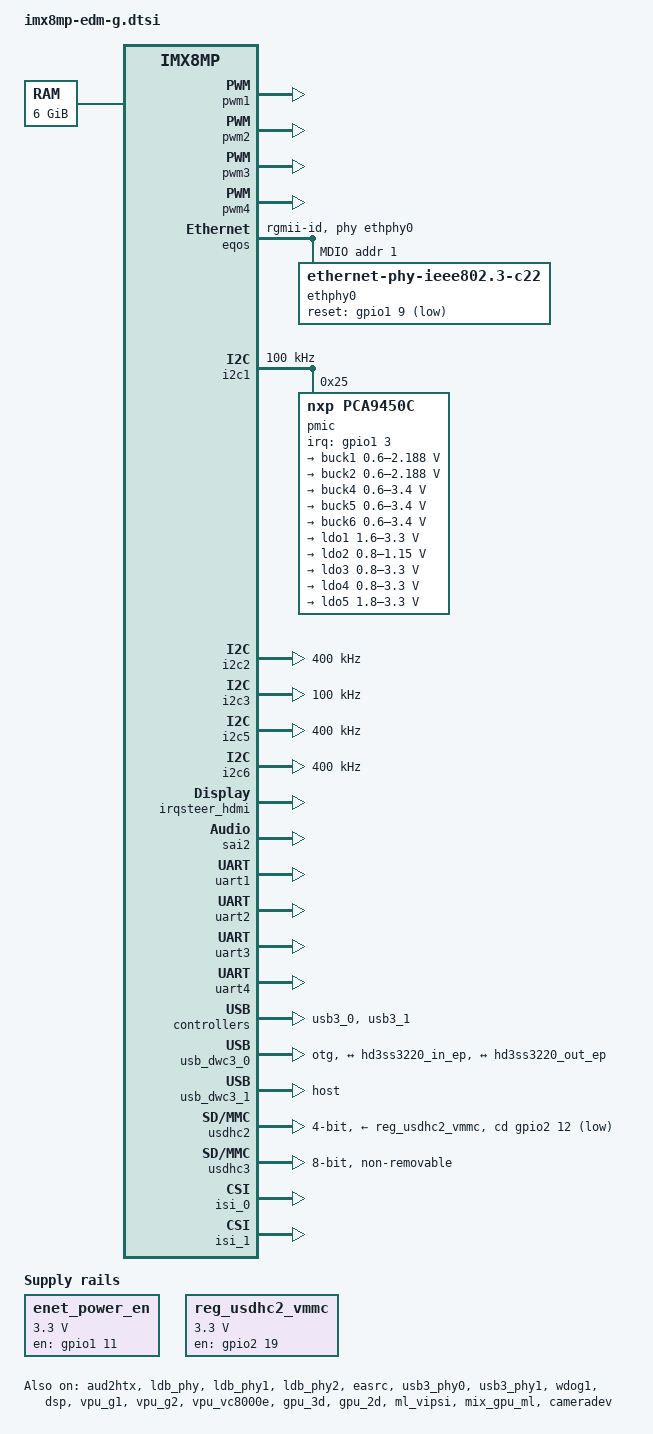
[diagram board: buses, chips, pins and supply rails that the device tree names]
// SPDX-License-Identifier: (GPL-2.0+ OR MIT)
/*
 * Copyright 2020 Technexion Ltd.
 *
 * Author: Ray Chang <ray.chang@technexion.com>
 *
 */

/dts-v1/;

#include <dt-bindings/usb/pd.h>
#include "imx8mp.dtsi"

/ {
	memory@40000000 {
		device_type = "memory";
		reg = <0x0 0x40000000 0 0xc0000000>,
		      <0x1 0x00000000 0 0xc0000000>;
	};

	chosen {		
		bootargs = "console=ttymxc1,115200 earlycon=ec_imx6q,0x30890000,115200 video=LCDIF2-1:1920x1080@60";
		stdout-path = &uart2;
	};

	enet_power_en: enet_power_en {
		pinctrl-names = "default";
		pinctrl-0 = <&pinctrl_enet_pwr>;
		compatible = "regulator-fixed";
		regulator-name = "enet_pwr";
		regulator-min-microvolt = <3300000>;
		regulator-max-microvolt = <3300000>;
		gpio = <&gpio1 11 GPIO_ACTIVE_HIGH>;
		enable-active-high;
		regulator-always-on;
	};

	reg_usdhc2_vmmc: regulator-usdhc2 {
		compatible = "regulator-fixed";
		regulator-name = "VSD_3V3";
		regulator-min-microvolt = <3300000>;
		regulator-max-microvolt = <3300000>;
		gpio = <&gpio2 19 GPIO_ACTIVE_HIGH>;
		enable-active-high;
		startup-delay-us = <100>;
		off-on-delay-us = <12000>;
	};
};

&aud2htx {
	status = "okay";
};

&A53_0 {
	cpu-supply = <&buck2>;
};

&A53_1 {
	cpu-supply = <&buck2>;
};

&A53_2 {
	cpu-supply = <&buck2>;
};

&A53_3 {
	cpu-supply = <&buck2>;
};

&pwm1 {
	pinctrl-names = "default";
	pinctrl-0 = <&pinctrl_pwm1>;
	status = "okay";
};

&pwm2 {
	pinctrl-names = "default";
	pinctrl-0 = <&pinctrl_pwm2>;
	status = "okay";
};

&pwm3 {
	pinctrl-names = "default";
	pinctrl-0 = <&pinctrl_pwm3>;
	status = "okay";
};

&pwm4 {
	pinctrl-names = "default";
	pinctrl-0 = <&pinctrl_pwm4>;
	status = "okay";
};

&ecspi1 {
	#address-cells = <1>;
	#size-cells = <0>;

	pinctrl-names = "default";	
	pinctrl-0 = <&pinctrl_ecspi1 &pinctrl_ecspi1_cs>;
	
	num-cs = <4>;	
	cs-gpios = <
		&gpio5 9 GPIO_ACTIVE_LOW   // CS0
		&gpio1 10 GPIO_ACTIVE_LOW  // CS1
		&gpio4 30 GPIO_ACTIVE_LOW  // CS2
		&gpio4 31 GPIO_ACTIVE_LOW  // CS3
	>;

	status = "disabled";

	spidev1: spi@0 {
		reg = <0>;
		compatible = "rohm,dh2228fv";
		spi-max-frequency = <500000>;
	};

	spidev1: spi@1 {
		reg = <1>;
		compatible = "rohm,dh2228fv";
		spi-max-frequency = <500000>;
	};

	spidev2: spi@2 {
		reg = <2>;
		compatible = "rohm,dh2228fv";
		spi-max-frequency = <500000>;
	};

	spidev3: spi@3 {
		reg = <3>;
		compatible = "rohm,dh2228fv";
		spi-max-frequency = <500000>;
	};
};

&ecspi2 {
	#address-cells = <1>;
	#size-cells = <0>;

	pinctrl-names = "default";	
	pinctrl-0 = <&pinctrl_ecspi2 &pinctrl_ecspi2_cs>;
	
	num-cs = <4>;	
	cs-gpios = <
		&gpio5 13 GPIO_ACTIVE_LOW    // ECSPI2_SS0 (기본)
		&gpio3 23 GPIO_ACTIVE_LOW    // SAI5_RXD2
		&gpio3 24 GPIO_ACTIVE_LOW    // SAI5_RXD3
		&gpio3 25 GPIO_ACTIVE_LOW    // SAI5_MCLK
	>;

	status = "disabled";
	
	spidev1: spi@0 {
		reg = <0>;
		compatible = "rohm,dh2228fv";
		spi-max-frequency = <500000>;
	};

	spidev1: spi@1 {
		reg = <1>;
		compatible = "rohm,dh2228fv";
		spi-max-frequency = <500000>;
	};

	spidev2: spi@2 {
		reg = <2>;
		compatible = "rohm,dh2228fv";
		spi-max-frequency = <500000>;
	};

	spidev3: spi@3 {
		reg = <3>;
		compatible = "rohm,dh2228fv";
		spi-max-frequency = <500000>;
	}; 
};


&eqos {
	pinctrl-names = "default";
	pinctrl-0 = <&pinctrl_eqos>;
	phy-mode = "rgmii-id";
	phy-handle = <&ethphy0>;
	status = "okay";

	mdio {
		compatible = "snps,dwmac-mdio";
		#address-cells = <1>;
		#size-cells = <0>;

		ethphy0: ethernet-phy@1 {
			/* Atheros AR8035 PHY */
			compatible = "ethernet-phy-ieee802.3-c22";
			reg = <1>;
			reset-gpios = <&gpio1 9 GPIO_ACTIVE_LOW>;
			reset-assert-us = <35000>;
			reset-deassert-us = <75000>;
			eee-broken-1000t;
			at803x,eee-disabled;
			at803x,vddio-1p8v;
			realtek,aldps-disable;
			realtek,clkout-disable;
		};
	};
};

&i2c1 {
	clock-frequency = <100000>;
	pinctrl-names = "default";
	pinctrl-0 = <&pinctrl_i2c1>;
	status = "okay";

	pmic: pca9450@25 {
		reg = <0x25>;
		compatible = "nxp,pca9450c";
		/* PMIC PCA9450 PMIC_nINT GPIO1_IO3 */
		pinctrl-0 = <&pinctrl_pmic>;
		interrupt-parent = <&gpio1>;
		interrupts = <3 GPIO_ACTIVE_LOW>;

		regulators {
			buck1: BUCK1 {
				regulator-name = "BUCK1";
				regulator-min-microvolt = <600000>;
				regulator-max-microvolt = <2187500>;
				regulator-boot-on;
				regulator-always-on;
				regulator-ramp-delay = <3125>;
			};

			buck2: BUCK2 {
				regulator-name = "BUCK2";
				regulator-min-microvolt = <600000>;
				regulator-max-microvolt = <2187500>;
				regulator-boot-on;
				regulator-always-on;
				regulator-ramp-delay = <3125>;
				nxp,dvs-run-voltage = <950000>;
				nxp,dvs-standby-voltage = <850000>;
			};

			buck4: BUCK4{
				regulator-name = "BUCK4";
				regulator-min-microvolt = <600000>;
				regulator-max-microvolt = <3400000>;
				regulator-boot-on;
				regulator-always-on;
			};

			buck5: BUCK5{
				regulator-name = "BUCK5";
				regulator-min-microvolt = <600000>;
				regulator-max-microvolt = <3400000>;
				regulator-boot-on;
				regulator-always-on;
			};

			buck6: BUCK6 {
				regulator-name = "BUCK6";
				regulator-min-microvolt = <600000>;
				regulator-max-microvolt = <3400000>;
				regulator-boot-on;
				regulator-always-on;
			};

			ldo1: LDO1 {
				regulator-name = "LDO1";
				regulator-min-microvolt = <1600000>;
				regulator-max-microvolt = <3300000>;
				regulator-boot-on;
				regulator-always-on;
			};

			ldo2: LDO2 {
				regulator-name = "LDO2";
				regulator-min-microvolt = <800000>;
				regulator-max-microvolt = <1150000>;
				regulator-boot-on;
				regulator-always-on;
			};

			ldo3: LDO3 {
				regulator-name = "LDO3";
				regulator-min-microvolt = <800000>;
				regulator-max-microvolt = <3300000>;
				regulator-boot-on;
				regulator-always-on;
			};

			ldo4: LDO4 {
				regulator-name = "LDO4";
				regulator-min-microvolt = <800000>;
				regulator-max-microvolt = <3300000>;
				regulator-boot-on;
				regulator-always-on;
			};

			ldo5: LDO5 {
				regulator-name = "LDO5";
				regulator-min-microvolt = <1800000>;
				regulator-max-microvolt = <3300000>;
				regulator-boot-on;
				regulator-always-on;
			};
		};
	};
};

&i2c2 {
	clock-frequency = <400000>;
	pinctrl-names = "default";
	pinctrl-0 = <&pinctrl_i2c2>;
	status = "okay";
};

&i2c3 {
	clock-frequency = <100000>;
	pinctrl-names = "default";
	pinctrl-0 = <&pinctrl_i2c3>;
	status = "okay";
};

&i2c4 {
	clock-frequency = <100000>;
	pinctrl-names = "default";
	pinctrl-0 = <&pinctrl_i2c4>;
	status = "disabled";
};

&i2c5 {
	clock-frequency = <400000>;
	pinctrl-names = "default";
	pinctrl-0 = <&pinctrl_i2c5>;
	status = "okay";
};

&i2c6 {
	clock-frequency = <400000>;
	pinctrl-names = "default";
	pinctrl-0 = <&pinctrl_i2c6>;
	status = "okay";
};

&irqsteer_hdmi {
	status = "okay";
};

&flexcan1 {
	pinctrl-names = "default";
	pinctrl-0 = <&pinctrl_flexcan1>;
	status = "disabled";
};

&flexcan2 {
	pinctrl-names = "default";
	pinctrl-0 = <&pinctrl_flexcan2>;
	status = "disabled";
};

&ldb_phy {
	status = "okay";
};

&ldb_phy1 {
	status = "okay";
};

&ldb_phy2 {
	status = "okay";
};

&easrc {
	fsl,asrc-rate  = <48000>;
	status = "okay";
};

&sai2 {
	pinctrl-names = "default";
	pinctrl-0 = <&pinctrl_sai2>;
	assigned-clocks = <&clk IMX8MP_CLK_SAI2>;
	assigned-clock-parents = <&clk IMX8MP_AUDIO_PLL1_OUT>;
	assigned-clock-rates = <12288000>;
	clocks = <&audio_blk_ctrl IMX8MP_CLK_AUDIOMIX_SAI2_IPG>, <&clk IMX8MP_CLK_DUMMY>,
		 <&audio_blk_ctrl IMX8MP_CLK_AUDIOMIX_SAI2_MCLK1>, <&clk IMX8MP_CLK_DUMMY>,
		 <&clk IMX8MP_CLK_DUMMY>;
	clock-names = "bus", "mclk0", "mclk1", "mclk2", "mclk3";
	fsl,sai-mclk-direction-output;
	status = "okay";
};

&sdma2 {
	status = "okay";
};

/* BT */
&uart1 {
	pinctrl-names = "default";
	pinctrl-0 = <&pinctrl_uart1>;
	status = "okay";
};

/* UART_A on EDMG, console */
&uart2 {
	pinctrl-names = "default";
	pinctrl-0 = <&pinctrl_uart2>;
	status = "okay";
};

/* UART_C on EDMG */
&uart3 {
	pinctrl-names = "default";
	pinctrl-0 = <&pinctrl_uart3>;
	assigned-clocks = <&clk IMX8MP_CLK_UART3>;
	assigned-clock-parents = <&clk IMX8MP_SYS_PLL1_80M>;
	fsl,uart-has-rtscts;
	status = "okay";
};

/* UART_B on EDMG */
&uart4 {
	pinctrl-names = "default";
	pinctrl-0 = <&pinctrl_uart4>;
	assigned-clocks = <&clk IMX8MP_CLK_UART4>;
	assigned-clock-parents = <&clk IMX8MP_SYS_PLL1_80M>;
	fsl,uart-has-rtscts;
	status = "okay";
};

&usb3_phy0 {
	fsl,phy-tx-vref-tune = <0xe>;
	fsl,phy-tx-preemp-amp-tune = <3>;
	fsl,phy-tx-vboost-level = <5>;
	fsl,phy-comp-dis-tune = <7>;
	fsl,pcs-tx-deemph-3p5db = <0x21>;
	fsl,phy-pcs-tx-swing-full = <0x7f>;
	status = "okay";
};

&usb3_0 {
	status = "okay";
};


&usb_dwc3_0 {
	dr_mode = "otg";
	pinctrl-names = "default";
	hnp-disable;
	srp-disable;
	adp-disable;
	usb-role-switch;
	status = "okay";

	ports {
		#address-cells = <1>;
		#size-cells = <0>;

		port@0 {
			reg = <0>;
			dwc3_out_ep: endpoint {
				remote-endpoint = <&hd3ss3220_in_ep>;
			};
		};

		port@1 {
			reg = <1>;
			dwc3_in_ep: endpoint {
				remote-endpoint = <&hd3ss3220_out_ep>;
			};
		};
	};
};


&usb3_phy1 {
	fsl,phy-tx-preemp-amp-tune = <3>;
	fsl,phy-tx-vref-tune = <0xb>;
	status = "okay";
};

&usb3_1 {
	status = "okay";
};

&usb_dwc3_1 {
	dr_mode = "host";
	status = "okay";
	resets = <&usb_hub_rst>;	
};

/* SD card on baseboard */
&usdhc2 {
	assigned-clocks = <&clk IMX8MP_CLK_USDHC2>;
	assigned-clock-rates = <400000000>;
	pinctrl-names = "default", "state_100mhz", "state_200mhz";
	pinctrl-0 = <&pinctrl_usdhc2>, <&pinctrl_usdhc2_gpio>;
	pinctrl-1 = <&pinctrl_usdhc2_100mhz>, <&pinctrl_usdhc2_gpio>;
	pinctrl-2 = <&pinctrl_usdhc2_200mhz>, <&pinctrl_usdhc2_gpio>;
	cd-gpios = <&gpio2 12 GPIO_ACTIVE_LOW>;
	vmmc-supply = <&reg_usdhc2_vmmc>;
	bus-width = <4>;
	status = "okay";
};

/* eMMC on SOM */
&usdhc3 {
	assigned-clocks = <&clk IMX8MP_CLK_USDHC3>;
	assigned-clock-rates = <400000000>;
	pinctrl-names = "default", "state_100mhz", "state_200mhz";
	pinctrl-0 = <&pinctrl_usdhc3>;
	pinctrl-1 = <&pinctrl_usdhc3_100mhz>;
	pinctrl-2 = <&pinctrl_usdhc3_200mhz>;
	bus-width = <8>;
	non-removable;
	status = "okay";
};

&wdog1 {
	pinctrl-names = "default";
	pinctrl-0 = <&pinctrl_wdog>;
	fsl,ext-reset-output;
	status = "okay";
};

&iomuxc {
	pinctrl-names = "default";

	pinctrl_wdog: wdoggrp {
		fsl,pins = <
			MX8MP_IOMUXC_GPIO1_IO02__WDOG1_WDOG_B	0xc6
		>;
	};

	//edm module - pca9450
	pinctrl_pmic: pmicirq {
		fsl,pins = <
			MX8MP_IOMUXC_GPIO1_IO03__GPIO1_IO03	0x41
		>;
	};


	pinctrl_usdhc1: usdhc1grp {
		fsl,pins = <
			MX8MP_IOMUXC_SD1_CLK__USDHC1_CLK	0x190
			MX8MP_IOMUXC_SD1_CMD__USDHC1_CMD	0x1d0
			MX8MP_IOMUXC_SD1_DATA0__USDHC1_DATA0	0x1d0
			MX8MP_IOMUXC_SD1_DATA1__USDHC1_DATA1	0x1d0
			MX8MP_IOMUXC_SD1_DATA2__USDHC1_DATA2	0x1d0
			MX8MP_IOMUXC_SD1_DATA3__USDHC1_DATA3	0x1d0
		>;
	};

	pinctrl_usdhc1_100mhz: usdhc1grp-100mhz {
		fsl,pins = <
			MX8MP_IOMUXC_SD1_CLK__USDHC1_CLK	0x194
			MX8MP_IOMUXC_SD1_CMD__USDHC1_CMD	0x1d4
			MX8MP_IOMUXC_SD1_DATA0__USDHC1_DATA0	0x1d4
			MX8MP_IOMUXC_SD1_DATA1__USDHC1_DATA1	0x1d4
			MX8MP_IOMUXC_SD1_DATA2__USDHC1_DATA2	0x1d4
			MX8MP_IOMUXC_SD1_DATA3__USDHC1_DATA3	0x1d4
		>;
	};

	pinctrl_usdhc1_200mhz: usdhc1grp-200mhz {
		fsl,pins = <
			MX8MP_IOMUXC_SD1_CLK__USDHC1_CLK	0x196
			MX8MP_IOMUXC_SD1_CMD__USDHC1_CMD	0x1d6
			MX8MP_IOMUXC_SD1_DATA0__USDHC1_DATA0	0x1d6
			MX8MP_IOMUXC_SD1_DATA1__USDHC1_DATA1	0x1d6
			MX8MP_IOMUXC_SD1_DATA2__USDHC1_DATA2	0x1d6
			MX8MP_IOMUXC_SD1_DATA3__USDHC1_DATA3	0x1d6
		>;
	};

	pinctrl_usdhc2_gpio: usdhc2grp-gpio {
		fsl,pins = <
			MX8MP_IOMUXC_SD2_CD_B__GPIO2_IO12 	0x1c4
			MX8MP_IOMUXC_SD2_RESET_B__GPIO2_IO19	0x41  //VSD_3V3
		>;
	};

	pinctrl_usdhc2: usdhc2grp {
		fsl,pins = <
			MX8MP_IOMUXC_SD2_CLK__USDHC2_CLK	0x190
			MX8MP_IOMUXC_SD2_CMD__USDHC2_CMD	0x1d0
			MX8MP_IOMUXC_SD2_DATA0__USDHC2_DATA0	0x1d0
			MX8MP_IOMUXC_SD2_DATA1__USDHC2_DATA1	0x1d0
			MX8MP_IOMUXC_SD2_DATA2__USDHC2_DATA2	0x1d0
			MX8MP_IOMUXC_SD2_DATA3__USDHC2_DATA3	0x1d0
			MX8MP_IOMUXC_GPIO1_IO04__USDHC2_VSELECT	0xc1  
		>;
	};

	pinctrl_usdhc2_100mhz: usdhc2grp-100mhz {
		fsl,pins = <
			MX8MP_IOMUXC_SD2_CLK__USDHC2_CLK	0x194
			MX8MP_IOMUXC_SD2_CMD__USDHC2_CMD	0x1d4
			MX8MP_IOMUXC_SD2_DATA0__USDHC2_DATA0	0x1d4
			MX8MP_IOMUXC_SD2_DATA1__USDHC2_DATA1	0x1d4
			MX8MP_IOMUXC_SD2_DATA2__USDHC2_DATA2	0x1d4
			MX8MP_IOMUXC_SD2_DATA3__USDHC2_DATA3	0x1d4
			MX8MP_IOMUXC_GPIO1_IO04__USDHC2_VSELECT 0xc1
		>;
	};

	pinctrl_usdhc2_200mhz: usdhc2grp-200mhz {
		fsl,pins = <
			MX8MP_IOMUXC_SD2_CLK__USDHC2_CLK	0x196
			MX8MP_IOMUXC_SD2_CMD__USDHC2_CMD	0x1d6
			MX8MP_IOMUXC_SD2_DATA0__USDHC2_DATA0	0x1d6
			MX8MP_IOMUXC_SD2_DATA1__USDHC2_DATA1	0x1d6
			MX8MP_IOMUXC_SD2_DATA2__USDHC2_DATA2	0x1d6
			MX8MP_IOMUXC_SD2_DATA3__USDHC2_DATA3	0x1d6
			MX8MP_IOMUXC_GPIO1_IO04__USDHC2_VSELECT 0xc1
		>;
	};

	pinctrl_usdhc3: usdhc3grp {
		fsl,pins = <
			MX8MP_IOMUXC_NAND_WE_B__USDHC3_CLK	0x190
			MX8MP_IOMUXC_NAND_WP_B__USDHC3_CMD	0x1d0
			MX8MP_IOMUXC_NAND_DATA04__USDHC3_DATA0	0x1d0
			MX8MP_IOMUXC_NAND_DATA05__USDHC3_DATA1	0x1d0
			MX8MP_IOMUXC_NAND_DATA06__USDHC3_DATA2	0x1d0
			MX8MP_IOMUXC_NAND_DATA07__USDHC3_DATA3	0x1d0
			MX8MP_IOMUXC_NAND_RE_B__USDHC3_DATA4	0x1d0
			MX8MP_IOMUXC_NAND_CE2_B__USDHC3_DATA5	0x1d0
			MX8MP_IOMUXC_NAND_CE3_B__USDHC3_DATA6	0x1d0
			MX8MP_IOMUXC_NAND_CLE__USDHC3_DATA7	0x1d0
			MX8MP_IOMUXC_NAND_CE1_B__USDHC3_STROBE	0x190
		>;
	};

	pinctrl_usdhc3_100mhz: usdhc3grp-100mhz {
		fsl,pins = <
			MX8MP_IOMUXC_NAND_WE_B__USDHC3_CLK	0x194
			MX8MP_IOMUXC_NAND_WP_B__USDHC3_CMD	0x1d4
			MX8MP_IOMUXC_NAND_DATA04__USDHC3_DATA0	0x1d4
			MX8MP_IOMUXC_NAND_DATA05__USDHC3_DATA1	0x1d4
			MX8MP_IOMUXC_NAND_DATA06__USDHC3_DATA2	0x1d4
			MX8MP_IOMUXC_NAND_DATA07__USDHC3_DATA3	0x1d4
			MX8MP_IOMUXC_NAND_RE_B__USDHC3_DATA4	0x1d4
			MX8MP_IOMUXC_NAND_CE2_B__USDHC3_DATA5	0x1d4
			MX8MP_IOMUXC_NAND_CE3_B__USDHC3_DATA6	0x1d4
			MX8MP_IOMUXC_NAND_CLE__USDHC3_DATA7	0x1d4
			MX8MP_IOMUXC_NAND_CE1_B__USDHC3_STROBE	0x194
		>;
	};

	pinctrl_usdhc3_200mhz: usdhc3grp-200mhz {
		fsl,pins = <
			MX8MP_IOMUXC_NAND_WE_B__USDHC3_CLK	0x196
			MX8MP_IOMUXC_NAND_WP_B__USDHC3_CMD	0x1d6
			MX8MP_IOMUXC_NAND_DATA04__USDHC3_DATA0	0x1d6
			MX8MP_IOMUXC_NAND_DATA05__USDHC3_DATA1	0x1d6
			MX8MP_IOMUXC_NAND_DATA06__USDHC3_DATA2	0x1d6
			MX8MP_IOMUXC_NAND_DATA07__USDHC3_DATA3	0x1d6
			MX8MP_IOMUXC_NAND_RE_B__USDHC3_DATA4	0x1d6
			MX8MP_IOMUXC_NAND_CE2_B__USDHC3_DATA5	0x1d6
			MX8MP_IOMUXC_NAND_CE3_B__USDHC3_DATA6	0x1d6
			MX8MP_IOMUXC_NAND_CLE__USDHC3_DATA7	0x1d6
			MX8MP_IOMUXC_NAND_CE1_B__USDHC3_STROBE	0x196
		>;
	};

	//edm module 
	pinctrl_enet_pwr: enetpwrgrp {
		fsl,pins = <
			MX8MP_IOMUXC_GPIO1_IO11__GPIO1_IO11		0x11
		>;
	};

	pinctrl_eqos: eqosgrp {
		fsl,pins = <
			MX8MP_IOMUXC_ENET_MDC__ENET_QOS_MDC	0x3
			MX8MP_IOMUXC_ENET_MDIO__ENET_QOS_MDIO	0x23
			MX8MP_IOMUXC_ENET_RD0__ENET_QOS_RGMII_RD0	0x91
			MX8MP_IOMUXC_ENET_RD1__ENET_QOS_RGMII_RD1	0x91
			MX8MP_IOMUXC_ENET_RD2__ENET_QOS_RGMII_RD2	0x91
			MX8MP_IOMUXC_ENET_RD3__ENET_QOS_RGMII_RD3	0x91
			MX8MP_IOMUXC_ENET_RXC__CCM_ENET_QOS_CLOCK_GENERATE_RX_CLK	0x91
			MX8MP_IOMUXC_ENET_RX_CTL__ENET_QOS_RGMII_RX_CTL	0x91
			MX8MP_IOMUXC_ENET_TD0__ENET_QOS_RGMII_TD0		0x1f
			MX8MP_IOMUXC_ENET_TD1__ENET_QOS_RGMII_TD1		0x1f
			MX8MP_IOMUXC_ENET_TD2__ENET_QOS_RGMII_TD2		0x1f
			MX8MP_IOMUXC_ENET_TD3__ENET_QOS_RGMII_TD3		0x1f
			MX8MP_IOMUXC_ENET_TX_CTL__ENET_QOS_RGMII_TX_CTL	0x1f
			MX8MP_IOMUXC_ENET_TXC__CCM_ENET_QOS_CLOCK_GENERATE_TX_CLK	0x1f
			MX8MP_IOMUXC_GPIO1_IO09__GPIO1_IO09		0x19
			MX8MP_IOMUXC_GPIO1_IO12__GPIO1_IO12		0x19
		>;
	};


	pinctrl_lvds0_backlight_pwr: lvds0_bl_pwrgrp {
		fsl,pins = <
			MX8MP_IOMUXC_SAI1_TXD2__GPIO4_IO14		0x19 /* LVDS0_BL_EN */
		>;
	};

	pinctrl_lvds0_pwr: lvds0_pwrgrp {
		fsl,pins = <
			MX8MP_IOMUXC_SAI1_TXD0__GPIO4_IO12		0x19 /* LVDS0_VDDEN */
		>;
	};


	pinctrl_pwm1: pwm1grp {
		fsl,pins = <
			MX8MP_IOMUXC_SPDIF_EXT_CLK__PWM1_OUT	0x116
		>;
	};

	pinctrl_pwm2: pwm2grp {
		fsl,pins = <
			MX8MP_IOMUXC_SAI5_RXD0__PWM2_OUT	0x116
		>;
	};

	pinctrl_pwm3: pwm3grp {
		fsl,pins = <
			MX8MP_IOMUXC_GPIO1_IO14__PWM3_OUT		0x116
		>;
	};

	pinctrl_pwm4: pwm4grp {
		fsl,pins = <
			MX8MP_IOMUXC_GPIO1_IO15__PWM4_OUT	0x116
		>;
	};

	pinctrl_touch_reset: touch_rstgrp {
		fsl,pins = <
			MX8MP_IOMUXC_SAI1_TXD1__GPIO4_IO13		0x41 /* TOUCH_nRST, LVDS1_VDDEN */
		>;
	};

    pinctrl_touch_irq: touch_irqgrp {
		fsl,pins = <
			MX8MP_IOMUXC_SAI1_TXD3__GPIO4_IO15	0x41   /* Touch INT */
		>;
	};	
	
	pinctrl_i2c1: i2c1grp {
		fsl,pins = <
			MX8MP_IOMUXC_I2C1_SCL__I2C1_SCL		0x400001a3
			MX8MP_IOMUXC_I2C1_SDA__I2C1_SDA		0x400001a3
		>;
	};

	pinctrl_i2c2: i2c2grp {
		fsl,pins = <
			MX8MP_IOMUXC_I2C2_SCL__I2C2_SCL			0x400001a3
			MX8MP_IOMUXC_I2C2_SDA__I2C2_SDA			0x400001a3
		>;
	};

	pinctrl_i2c3: i2c3grp {
		fsl,pins = <
			MX8MP_IOMUXC_I2C3_SCL__I2C3_SCL			0x400001c3
			MX8MP_IOMUXC_I2C3_SDA__I2C3_SDA			0x400001c3
		>;
	};

	pinctrl_i2c4: i2c4grp {
		fsl,pins = <
			MX8MP_IOMUXC_I2C4_SCL__I2C4_SCL			0x400001c3
			MX8MP_IOMUXC_I2C4_SDA__I2C4_SDA			0x400001c3
		>;
	};	

	pinctrl_i2c5: i2c5grp {
		fsl,pins = <
			MX8MP_IOMUXC_HDMI_DDC_SCL__I2C5_SCL		0x400001a3
			MX8MP_IOMUXC_HDMI_DDC_SDA__I2C5_SDA		0x400001a3
		>;
	};

	pinctrl_i2c6: i2c6grp {
		fsl,pins = <
			MX8MP_IOMUXC_SAI5_RXFS__I2C6_SCL		0x400001a3
			MX8MP_IOMUXC_SAI5_RXC__I2C6_SDA			0x400001a3
		>;
	};	

	pinctrl_flexcan1: flexcan1grp {
		fsl,pins = <
			MX8MP_IOMUXC_SPDIF_RX__CAN1_RX		0x154
			MX8MP_IOMUXC_SPDIF_TX__CAN1_TX		0x154
		>;
	};

	pinctrl_flexcan2: flexcan2grp {
		fsl,pins = <
			MX8MP_IOMUXC_HDMI_HPD__CAN2_RX		0x154
			MX8MP_IOMUXC_HDMI_CEC__CAN2_TX		0x154
		>;
	};

	pinctrl_ecspi1: ecspi1grp {
		fsl,pins = <
			MX8MP_IOMUXC_ECSPI1_SCLK__ECSPI1_SCLK		0x82
			MX8MP_IOMUXC_ECSPI1_MOSI__ECSPI1_MOSI		0x82
			MX8MP_IOMUXC_ECSPI1_MISO__ECSPI1_MISO		0x82
		>;
	};

	pinctrl_ecspi1_cs: ecspi1cs {
		fsl,pins = <
			MX8MP_IOMUXC_ECSPI1_SS0__ECSPI1_SS0		0x40000
			MX8MP_IOMUXC_GPIO1_IO10__GPIO1_IO10     0x40000		
			MX8MP_IOMUXC_SAI3_RXD__GPIO4_IO30       0x40000                
            MX8MP_IOMUXC_SAI3_TXFS__GPIO4_IO31      0x40000		
		>;
	};

	pinctrl_ecspi2: ecspi2grp {
		fsl,pins = <
			MX8MP_IOMUXC_ECSPI2_SCLK__ECSPI2_SCLK		0x82
			MX8MP_IOMUXC_ECSPI2_MOSI__ECSPI2_MOSI		0x82
			MX8MP_IOMUXC_ECSPI2_MISO__ECSPI2_MISO		0x82
		>;
	};

	pinctrl_ecspi2_cs: ecspi2cs {
		fsl,pins = <
			MX8MP_IOMUXC_ECSPI2_SS0__ECSPI2_SS0		0x40000
			MX8MP_IOMUXC_SAI5_RXD2__GPIO3_IO23      0x40000
			MX8MP_IOMUXC_SAI5_RXD3__GPIO3_IO24      0x40000
			MX8MP_IOMUXC_SAI5_MCLK__GPIO3_IO25      0x40000			
		>;
	};

/*
	pinctrl_uart1: uart1grp {
		fsl,pins = <
			MX8MM_IOMUXC_SAI2_RXC_UART1_DCE_RX		0x140
			MX8MM_IOMUXC_SAI2_RXFS_UART1_DCE_TX		0x140
		>;
	};
*/
	pinctrl_uart2: uart2grp {
		fsl,pins = <
			MX8MP_IOMUXC_UART2_RXD__UART2_DCE_RX	0x140
			MX8MP_IOMUXC_UART2_TXD__UART2_DCE_TX	0x140
		>;
	};

	pinctrl_uart3: uart3grp {
		fsl,pins = <
			MX8MP_IOMUXC_SD1_DATA6__UART3_DCE_TX	0x140
			MX8MP_IOMUXC_SD1_DATA7__UART3_DCE_RX	0x140
		>;
	};

	pinctrl_uart4: uart4grp {
		fsl,pins = <
			MX8MP_IOMUXC_UART4_RXD__UART4_DCE_RX	0x140
			MX8MP_IOMUXC_UART4_TXD__UART4_DCE_TX	0x140
		>;
	};

	pinctrl_gpio1: gpio1grp {
		fsl,pins = <
			MX8MP_IOMUXC_GPIO1_IO06__GPIO1_IO06        0x16
			MX8MP_IOMUXC_GPIO1_IO08__GPIO1_IO08        0x16
		>;
	};

	pinctrl_gpio2: gpio2grp {
		fsl,pins = <
			MX8MP_IOMUXC_SD1_RESET_B__GPIO2_IO10       0x16
			MX8MP_IOMUXC_SD1_STROBE__GPIO2_IO11        0x16  	
		>;
	};

	pinctrl_gpio3: gpio3grp {
		fsl,pins = <			
			MX8MP_IOMUXC_SAI5_RXD1__GPIO3_IO22         0x16
		>;
	};	

	pinctrl_gpio4: gpio4grp {
		fsl,pins = <
			MX8MP_IOMUXC_SAI1_RXFS__GPIO4_IO00         0x16
			MX8MP_IOMUXC_SAI1_RXC__GPIO4_IO01          0x16
			MX8MP_IOMUXC_SAI1_RXD0__GPIO4_IO02         0x16
			MX8MP_IOMUXC_SAI1_RXD1__GPIO4_IO03         0x16
			MX8MP_IOMUXC_SAI1_RXD2__GPIO4_IO04         0x16 //stm-pwr_down
			MX8MP_IOMUXC_SAI1_RXD3__GPIO4_IO05         0x16 //stm-run_status
			MX8MP_IOMUXC_SAI1_RXD4__GPIO4_IO06         0x16
			MX8MP_IOMUXC_SAI1_RXD5__GPIO4_IO07         0x16
			MX8MP_IOMUXC_SAI1_RXD7__GPIO4_IO09         0x16
			MX8MP_IOMUXC_SAI1_TXFS__GPIO4_IO10         0x16			
			MX8MP_IOMUXC_SAI1_TXC__GPIO4_IO11          0x16
			MX8MP_IOMUXC_SAI1_TXD0__GPIO4_IO12         0x16
			MX8MP_IOMUXC_SAI1_TXD1__GPIO4_IO13         0x16
			MX8MP_IOMUXC_SAI1_TXD2__GPIO4_IO14         0x16
			MX8MP_IOMUXC_SAI1_TXD3__GPIO4_IO15         0x16
			MX8MP_IOMUXC_SAI1_TXD4__GPIO4_IO16         0x16
			MX8MP_IOMUXC_SAI1_TXD5__GPIO4_IO17         0x16		             
			MX8MP_IOMUXC_SAI3_RXFS__GPIO4_IO28         0x16
            MX8MP_IOMUXC_SAI3_RXC__GPIO4_IO29          0x16
		>;
	};

	pinctrl_gpio5: gpio5grp {
		fsl,pins = <						
			MX8MP_IOMUXC_SAI3_TXC__GPIO5_IO00          0x16
			MX8MP_IOMUXC_SAI3_TXD__GPIO5_IO01          0x16
			MX8MP_IOMUXC_SAI3_MCLK__GPIO5_IO02         0x16
		>;
	};	


	pinctrl_sai2: sai2grp {
		fsl,pins = <
			MX8MP_IOMUXC_SAI2_MCLK__AUDIOMIX_SAI2_MCLK		0xd6
			MX8MP_IOMUXC_SAI2_TXFS__AUDIOMIX_SAI2_TX_SYNC	0xd6
			MX8MP_IOMUXC_SAI2_TXC__AUDIOMIX_SAI2_TX_BCLK	0xd6
			MX8MP_IOMUXC_SAI2_RXD0__AUDIOMIX_SAI2_RX_DATA00	0xd6
			MX8MP_IOMUXC_SAI2_TXD0__AUDIOMIX_SAI2_TX_DATA00	0xd6
		>;
	};
	
	pinctrl_pcie: pciegrp {
		fsl,pins = <
			MX8MP_IOMUXC_GPIO1_IO13__GPIO1_IO13		0x41 /* PCIE CLKREQ */
			MX8MP_IOMUXC_SAI2_RXFS__GPIO4_IO21		0x41 /* PCIE WAKE */
			MX8MP_IOMUXC_GPIO1_IO01__GPIO1_IO01		0x41 /* PCIE RST */
		>;
	};

	pinctrl_otg_vbus: otgvbusgrp {
		fsl,pins = <
			MX8MP_IOMUXC_SAI1_RXFS__GPIO4_IO00		0x19 /* USB_OTG_PWR_EN */
		>;
	};

	pinctrl_csi0_pwn: csi0_pwn_grp {
		fsl,pins = <
			MX8MP_IOMUXC_GPIO1_IO07__GPIO1_IO07	0x9
		>;
	};

	pinctrl_csi0_rst: csi0_rst_grp {
		fsl,pins = <
			MX8MP_IOMUXC_GPIO1_IO08__GPIO1_IO08	0x9
			MX8MP_IOMUXC_GPIO1_IO14__CCM_CLKO1	0x59
		>;
	};

	//EDM-WB Only
	pinctrl_usb_hub_ctrl: usbhubctrlgrp {
		fsl,pins = <
			MX8MP_IOMUXC_SAI2_RXC__GPIO4_IO22		0x41 /* USB_HUB_RESET */
		>;
	};

	//EDM-WB Only
	pinctrl_hd3ss3220_irq: hd3ss3220_irqgrp {
		fsl,pins = <
			MX8MP_IOMUXC_SAI1_RXD6__GPIO4_IO08		0x41 /* GPIO_P253 */
		>;
	};	

};

&snvs_pwrkey {
	status = "disabled";
};


&mipi_csi_1 
{
	status = "disabled";
};

&dsp {
	status = "okay";
};


&vpu_g1 {
	status = "okay";
};

&vpu_g2 {
	status = "okay";
};

&vpu_vc8000e {
	status = "okay";
};

&gpu_3d {
	status = "okay";
};

&gpu_2d {
	status = "okay";
};

&ml_vipsi {
	status = "okay";
};

&mix_gpu_ml {
	status = "okay";
};

&cameradev {
	status = "okay";
};

&isi_0 {
	status = "okay";

	cap_device {
		status = "okay";
	};

	m2m_device {
		status = "disabled";
	};
};

&isi_1 {
	status = "okay";

	cap_device {
		status = "okay";
	};
};
